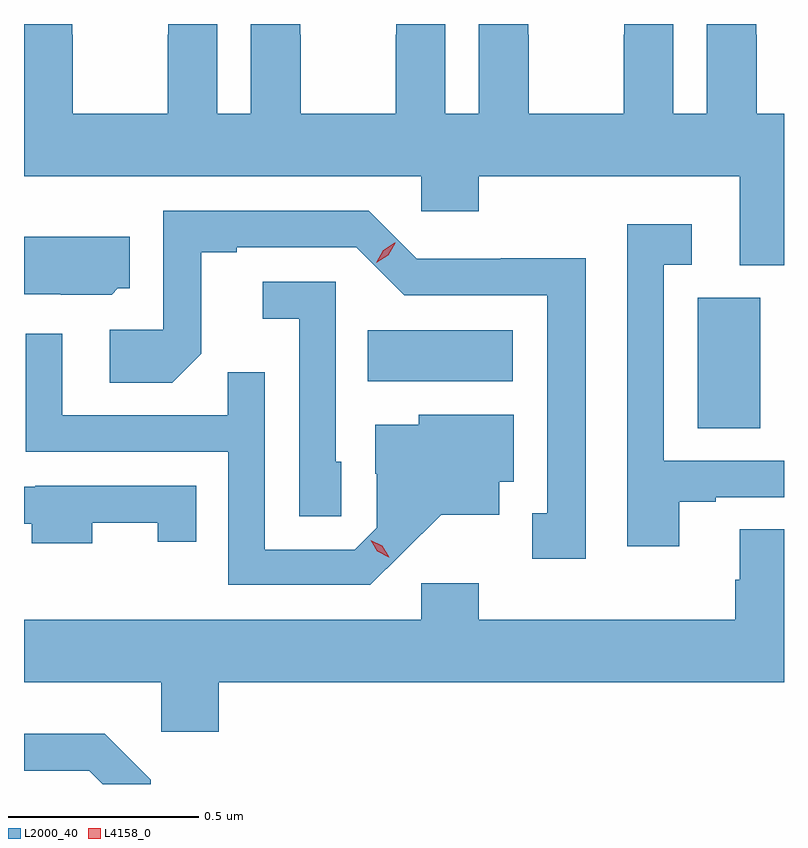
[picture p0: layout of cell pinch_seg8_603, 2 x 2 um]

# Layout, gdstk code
import gdstk
lib = gdstk.Library(unit=1e-6, precision=1e-09)
def R(c, l, rs):  # rectangles x0, y0, x1, y1
    for r in rs: c.add(gdstk.rectangle(r[:2], r[2:], *l))
def P(c, l, *ps):  # polygons
    for p in ps: c.add(gdstk.Polygon(p, *l))
L2000_40 = (2000, 40)
L4158_0 = (4158, 0)

pinch_seg8_603 = lib.new_cell('pinch_seg8_603')
R(pinch_seg8_603, L2000_40, [(135.572,1087.864,135.736,1088.208), (134.704,1087.988,135.085,1088.122)])
P(pinch_seg8_603, L2000_40, [(135.799,1088.692),(135.727,1088.692),(135.727,1088.9),(135.726,1088.9),(135.726,1088.928),(135.596,1088.928),(135.596,1088.692),(135.508,1088.692),(135.508,1088.928),(135.378,1088.928),(135.378,1088.9),(135.377,1088.9),(135.377,1088.692),(135.127,1088.692),(135.127,1088.9),(135.126,1088.9),(135.126,1088.928),(134.996,1088.928),(134.996,1088.692),(134.908,1088.692),(134.908,1088.928),(134.778,1088.928),(134.778,1088.9),(134.777,1088.9),(134.777,1088.692),(134.527,1088.692),(134.527,1088.9),(134.526,1088.9),(134.526,1088.928),(134.396,1088.928),(134.396,1088.692),(134.308,1088.692),(134.308,1088.928),(134.178,1088.928),(134.178,1088.9),(134.177,1088.9),(134.177,1088.692),(133.927,1088.692),(133.927,1088.9),(133.926,1088.9),(133.926,1088.928),(133.799,1088.928),(133.799,1088.528),(134.844,1088.528),(134.844,1088.435),(134.996,1088.435),(134.996,1088.528),(135.683,1088.528),(135.683,1088.293),(135.799,1088.293)],
  [(135.277,1088.312),(135.054,1088.312),(135.054,1088.31),(134.832,1088.31),(134.706,1088.436),(134.166,1088.436),(134.166,1088.124),(134.025,1088.124),(134.025,1087.984),(134.189,1087.984),(134.265,1088.06),(134.265,1088.328),(134.359,1088.328),(134.359,1088.34),(134.673,1088.34),(134.799,1088.214),(135.176,1088.214),(135.176,1087.641),(135.137,1087.641),(135.137,1087.521),(135.277,1087.521)],
  [(135.523,1087.671),(135.619,1087.671),(135.619,1087.683),(135.799,1087.683),(135.799,1087.779),(135.483,1087.779),(135.483,1088.295),(135.556,1088.295),(135.556,1088.401),(135.387,1088.401),(135.387,1087.554),(135.523,1087.554)],
  [(134.046,1088.232),(134.077,1088.232),(134.077,1088.368),(133.799,1088.368),(133.799,1088.217),(133.896,1088.217),(133.896,1088.216),(134.03,1088.216)],
  [(134.634,1087.776),(134.619,1087.776),(134.619,1088.25),(134.427,1088.25),(134.427,1088.153),(134.523,1088.153),(134.523,1087.633),(134.634,1087.633)],
  [(134.794,1087.535),(134.897,1087.637),(135.049,1087.637),(135.049,1087.724),(135.088,1087.724),(135.088,1087.9),(134.838,1087.9),(134.838,1087.873),(134.723,1087.873),(134.723,1087.744),(134.727,1087.744),(134.727,1087.602),(134.67,1087.545),(134.433,1087.545),(134.433,1088.012),(134.335,1088.012),(134.335,1087.899),(133.899,1087.899),(133.899,1088.113),(133.803,1088.113),(133.803,1087.803),(134.337,1087.803),(134.337,1087.452),(134.71,1087.452)],
  [(133.978,1087.615),(134.151,1087.615),(134.151,1087.566),(134.252,1087.566),(134.252,1087.713),(133.828,1087.713),(133.828,1087.71),(133.799,1087.71),(133.799,1087.613),(133.82,1087.613),(133.82,1087.562),(133.978,1087.562)],
  [(134.312,1087.196),(135.799,1087.196),(135.799,1087.598),(135.683,1087.598),(135.683,1087.466),(135.671,1087.466),(135.671,1087.36),(134.996,1087.36),(134.996,1087.456),(134.844,1087.456),(134.844,1087.36),(133.799,1087.36),(133.799,1087.196),(134.16,1087.196),(134.16,1087.065),(134.312,1087.065)],
  [(134.133,1086.939),(134.012,1087.06),(133.799,1087.06),(133.799,1086.963),(133.971,1086.963),(134.006,1086.928),(134.133,1086.928)])
P(pinch_seg8_603, L4158_0, [(134.726,1088.3),(134.726,1088.3),(134.744,1088.333),(134.775,1088.352),(134.776,1088.352),(134.776,1088.351),(134.758,1088.319),(134.726,1088.3)],
  [(134.759,1087.525),(134.728,1087.54),(134.711,1087.569),(134.711,1087.57),(134.711,1087.57),(134.742,1087.555),(134.76,1087.525),(134.76,1087.525)])

lib.write_gds('pinch_seg8_603.gds')
